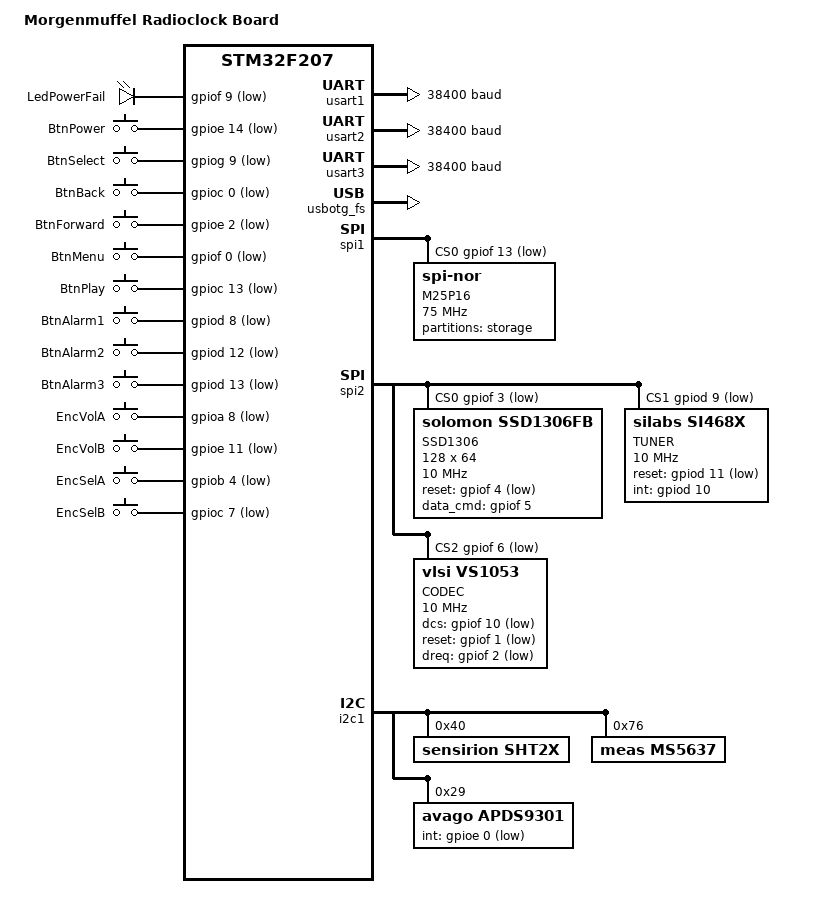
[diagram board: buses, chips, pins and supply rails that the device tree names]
/*
 * Copyright (c) 2019 Marco Peter
 *
 * SPDX-License-Identifier: Apache-2.0
 */

/dts-v1/;
#include <st/f2/stm32f207Xg.dtsi>
#include <dt-bindings/gpio/gpio.h>

/ {
	model = "Morgenmuffel Radioclock Board";
	compatible = "mp,morgenmuffel", "st,stm32f207";

	chosen {
		zephyr,sram = &sram0;
		zephyr,flash = &flash0;
	};

	leds {
		compatible = "gpio-leds";
		power_led: led_1 {
			gpios = <&gpiof 9 GPIO_ACTIVE_LOW>;
			label = "LedPowerFail";
		};
	};

	gpio_keys {
		compatible = "gpio-keys";
		btn_pwr: button_power {
			label = "BtnPower";
			gpios = <&gpioe 14 (GPIO_ACTIVE_LOW | GPIO_PULL_UP)>;
		};
		btn_sel: button_select {
			label = "BtnSelect";
			gpios = <&gpiog 9 (GPIO_ACTIVE_LOW | GPIO_PULL_UP)>;
		};
		btn_bk: button_back {
			label = "BtnBack";
			gpios = <&gpioc 0 (GPIO_ACTIVE_LOW | GPIO_PULL_UP)>;
		};
		btn_fwd: button_forward {
			label = "BtnForward";
			gpios = <&gpioe 2 (GPIO_ACTIVE_LOW | GPIO_PULL_UP)>;
		};
		btn_menu: button_menu {
			label = "BtnMenu";
			gpios = <&gpiof 0 (GPIO_ACTIVE_LOW | GPIO_PULL_UP)>;
		};
		btn_play: button_play {
			label = "BtnPlay";
			gpios = <&gpioc 13 (GPIO_ACTIVE_LOW | GPIO_PULL_UP)>;
		};
		btn_alarm1: button_alarm1 {
			label = "BtnAlarm1";
			gpios = <&gpiod 8 (GPIO_ACTIVE_LOW | GPIO_PULL_UP)>;
		};
		btn_alarm2: button_alarm2 {
			label = "BtnAlarm2";
			gpios = <&gpiod 12 (GPIO_ACTIVE_LOW | GPIO_PULL_UP)>;
		};
		btn_alarm3: button_alarm3 {
			label = "BtnAlarm3";
			gpios = <&gpiod 13 (GPIO_ACTIVE_LOW | GPIO_PULL_UP)>;
		};
		enc_volume_a: encoder_volume_a {
			label = "EncVolA";
			gpios = <&gpioa 8 (GPIO_ACTIVE_LOW | GPIO_PULL_UP)>;
		};
		enc_volume_b: encoder_volume_b {
			label = "EncVolB";
			gpios = <&gpioe 11 (GPIO_ACTIVE_LOW | GPIO_PULL_UP)>;
		};
		enc_select_a: encoder_select_a {
			label = "EncSelA";
			gpios = <&gpiob 4 (GPIO_ACTIVE_LOW | GPIO_PULL_UP)>;
		};
		enc_select_b: encoder_select_b {
			label = "EncSelB";
			gpios = <&gpioc 7 (GPIO_ACTIVE_LOW | GPIO_PULL_UP)>;
		};
	};

	aliases {
		led0 = &power_led;
		sw0 = &btn_pwr;
		sw1 = &btn_sel;
		sw2 = &btn_bk;
		sw3 = &btn_fwd;
		sw4 = &btn_menu;
		sw5 = &btn_play;
		sw6 = &btn_alarm1;
		sw7 = &btn_alarm2;
		sw8 = &btn_alarm3;
	};
};

&usart1 {
	current-speed = <38400>;
	status = "okay";
};

&usart2 {
	current-speed = <38400>;
	status = "okay";
};

&usart3 {
	current-speed = <38400>;
	status = "okay";
};

&usbotg_fs {
	status = "okay";
};

&spi1 { /* Memory bus connecting M25P16 (node 0) flash and SRAM (node 1) */
	status = "okay";
	cs-gpios = <&gpiof 13 GPIO_ACTIVE_LOW>, <&gpiof 12 GPIO_ACTIVE_LOW>;
	m25p16: m25p16@0 {
		compatible = "jedec,spi-nor";
		label = "M25P16";
		reg = <0>;
		jedec-id = [20 20 15];
		spi-max-frequency = <75000000>;
		size = <0x2000000>;
		has-dpd;
		t-enter-dpd = <3000>;
		t-exit-dpd = <30000>;

		partitions {
			compatible = "fixed-partitions";
			#address-cells = <1>;
			#size-cells = <1>;

			storage_partition: partition@0 {
				label = "storage";
				reg = <0x00000000 0x00200000>;
			};
		};
	};
};

&spi2 { /* Peripheral bus connecting display (node 0), VS1053 CS (node 1) and DCS (node 2) and SI4689 (node 3). */
	status = "okay";
	cs-gpios = <&gpiof 3 GPIO_ACTIVE_LOW>, <&gpiod 9 GPIO_ACTIVE_LOW>, <&gpiof 6 GPIO_ACTIVE_LOW>;
	display: ssd1306@0 {
		compatible = "solomon,ssd1306fb";
		label = "SSD1306";
		reg = <0>;
		spi-max-frequency = <10000000>;
		height = <64>;
		width = <128>;
		segment-offset = <0>;
		page-offset = <0>;
		display-offset = <0>;
		multiplex-ratio = <63>;
		prechargep = <0x22>;
		reset-gpios = <&gpiof 4 GPIO_ACTIVE_LOW>;
		data_cmd-gpios = <&gpiof 5 0>;
	};
	radio: si4689@1 {
		compatible = "silabs,si468x";
		label = "TUNER";
		reg = <1>;
		spi-max-frequency = <10000000>;
		reset-gpios = <&gpiod 11 GPIO_ACTIVE_LOW>;
		int-gpios = <&gpiod 10 (GPIO_ACTIVE_HIGH | GPIO_PULL_UP)>;
	};
	codec: vs1053@2 {
		compatible = "vlsi,vs1053";
		label = "CODEC";
		reg = <2>;
		spi-max-frequency = <10000000>;
		dcs-gpios = <&gpiof 10 GPIO_ACTIVE_LOW>;
		reset-gpios = <&gpiof 1 GPIO_ACTIVE_LOW>;
		dreq-gpios = <&gpiof 2 (GPIO_ACTIVE_LOW | GPIO_PULL_UP)>;
	};
};

&i2c1 {
	status = "okay";
	rh_sens: sht2x@40 {
		compatible = "sensirion,sht2x";
		label = "SHT2X";
		reg = <0x40>;
	};
	pr_sens: ms5637@76 {
		compatible = "meas,ms5637";
		label = "MS5637";
		reg = <0x76>;
	};
	light_sens: apds9301@29 {
		compatible = "avago,apds9301";
		label = "APDS9301";
		reg = <0x29>;
		int-gpios = <&gpioe 0 (GPIO_ACTIVE_LOW | GPIO_PULL_UP)>;
	};
};

